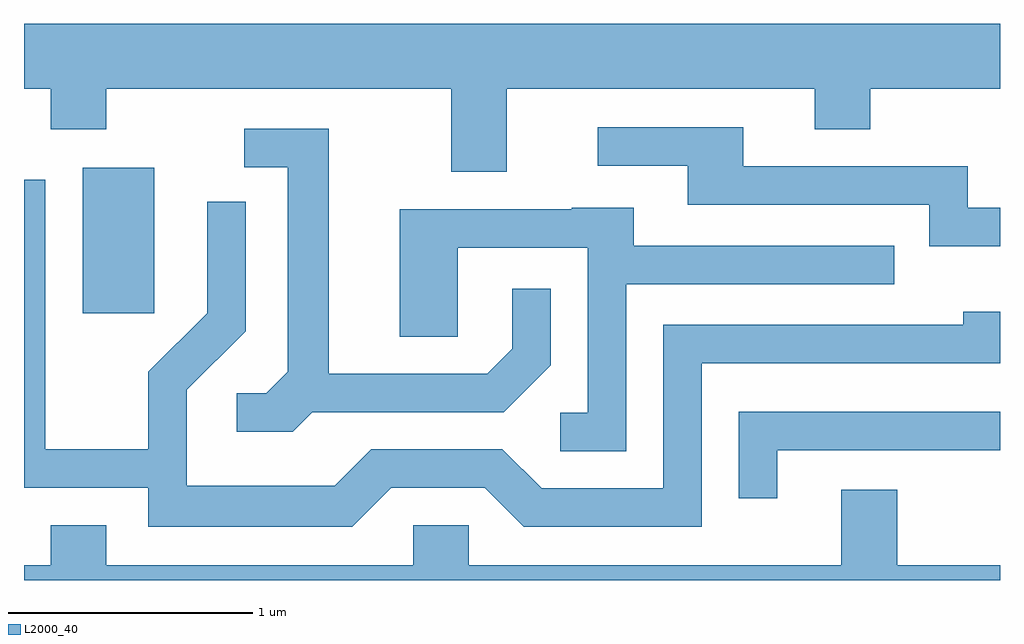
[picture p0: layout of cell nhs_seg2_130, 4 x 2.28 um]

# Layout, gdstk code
import gdstk
lib = gdstk.Library(unit=1e-6, precision=1e-09)
def R(c, l, rs):  # rectangles x0, y0, x1, y1
    for r in rs: c.add(gdstk.rectangle(r[:2], r[2:], *l))
def P(c, l, *ps):  # polygons
    for p in ps: c.add(gdstk.Polygon(p, *l))
L2000_40 = (2000, 40)

nhs_seg2_130 = lib.new_cell('nhs_seg2_130')
R(nhs_seg2_130, L2000_40, [(187.851,1102.896,188.144,1103.494)])
P(nhs_seg2_130, L2000_40, [(189.589,1103.816),(190.851,1103.816),(190.851,1103.651),(191.079,1103.651),(191.079,1103.816),(191.611,1103.816),(191.611,1104.084),(187.611,1104.084),(187.611,1103.816),(187.721,1103.816),(187.721,1103.651),(187.949,1103.651),(187.949,1103.816),(189.361,1103.816),(189.361,1103.476),(189.589,1103.476)],
  [(191.611,1103.329),(191.479,1103.329),(191.479,1103.499),(190.559,1103.499),(190.559,1103.659),(189.963,1103.659),(189.963,1103.501),(190.331,1103.501),(190.331,1103.341),(191.321,1103.341),(191.321,1103.171),(191.611,1103.171)],
  [(188.792,1102.491),(189.577,1102.491),(189.769,1102.684),(189.769,1102.998),(189.611,1102.998),(189.611,1102.752),(189.509,1102.649),(188.859,1102.649),(188.859,1103.654),(188.513,1103.654),(188.513,1103.496),(188.691,1103.496),(188.691,1102.657),(188.604,1102.569),(188.483,1102.569),(188.483,1102.411),(188.712,1102.411)],
  [(189.117,1102.181),(189.499,1102.181),(189.659,1102.021),(190.389,1102.021),(190.389,1102.691),(191.611,1102.691),(191.611,1102.904),(191.461,1102.904),(191.461,1102.849),(190.231,1102.849),(190.231,1102.179),(189.732,1102.179),(189.572,1102.339),(189.034,1102.339),(188.884,1102.189),(188.279,1102.189),(188.279,1102.584),(188.519,1102.824),(188.519,1103.353),(188.361,1103.353),(188.361,1102.897),(188.121,1102.657),(188.121,1102.339),(187.699,1102.339),(187.699,1103.444),(187.611,1103.444),(187.611,1102.181),(188.121,1102.181),(188.121,1102.021),(188.957,1102.021)],
  [(190.079,1103.016),(191.178,1103.016),(191.178,1103.174),(190.109,1103.174),(190.109,1103.329),(189.855,1103.329),(189.855,1103.324),(189.151,1103.324),(189.151,1102.801),(189.389,1102.801),(189.389,1103.166),(189.921,1103.166),(189.921,1102.489),(189.808,1102.489),(189.808,1102.331),(190.079,1102.331)],
  [(190.699,1102.336),(191.611,1102.336),(191.611,1102.494),(190.541,1102.494),(190.541,1102.138),(190.699,1102.138)],
  [(191.611,1101.864),(191.189,1101.864),(191.189,1102.174),(190.961,1102.174),(190.961,1101.864),(189.434,1101.864),(189.434,1102.029),(189.206,1102.029),(189.206,1101.864),(187.949,1101.864),(187.949,1102.029),(187.721,1102.029),(187.721,1101.864),(187.611,1101.864),(187.611,1101.802),(191.611,1101.802)])

lib.write_gds('nhs_seg2_130.gds')
